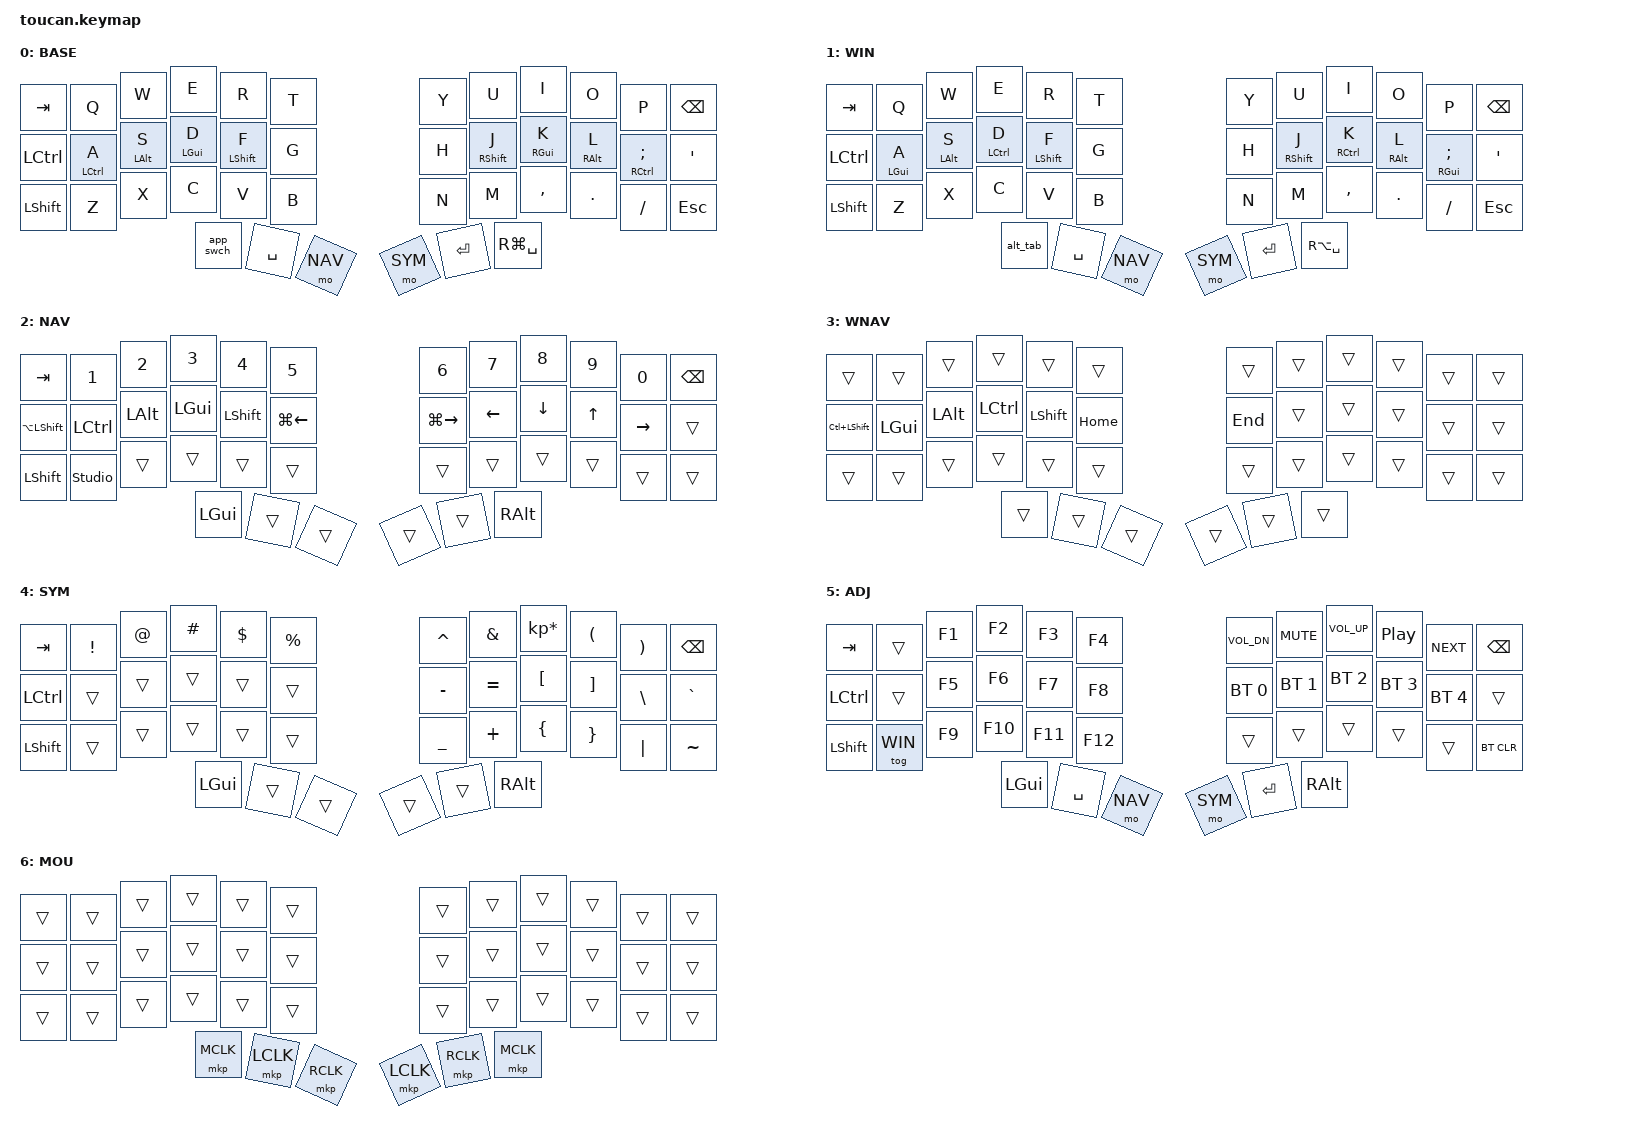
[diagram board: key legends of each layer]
#include <behaviors.dtsi>
#include <dt-bindings/zmk/keys.h>
#include <dt-bindings/zmk/bt.h>
#include <dt-bindings/zmk/outputs.h>
#include <dt-bindings/zmk/pointing.h>

// Layer order matters: higher index wins. WIN/WNAV must sit below NAV/SYM/ADJ.
// MOUSE (6) and NAV/SYM (2/4) indices are also referenced in boards/shields/toucan/toucan.dtsi
#define BASE  0
#define WIN   1
#define NAV   2
#define WNAV  3
#define SYM   4
#define ADJ   5
#define MOUSE 6

// Key positions for chordal hold (see toucan.dtsi)
#define KEYS_L 0 1 2 3 4 5 12 13 14 15 16 17 24 25 26 27 28 29
#define KEYS_R 6 7 8 9 10 11 18 19 20 21 22 23 30 31 32 33 34 35
#define THUMBS 36 37 38 39 40 41

/ {
    conditional_layers {
        compatible = "zmk,conditional-layers";
        tri_layer {
            if-layers = <NAV SYM>;
            then-layer = <ADJ>;
        };
        win_nav {
            if-layers = <WIN NAV>;
            then-layer = <WNAV>;
        };
    };

    behaviors {
        hml: home_row_mod_left {
            compatible = "zmk,behavior-hold-tap";
            #binding-cells = <2>;
            flavor = "balanced";
            tapping-term-ms = <280>;
            quick-tap-ms = <175>;
            require-prior-idle-ms = <150>;
            bindings = <&kp>, <&kp>;
            hold-trigger-key-positions = <KEYS_R THUMBS>;
            hold-trigger-on-release;
        };

        hmr: home_row_mod_right {
            compatible = "zmk,behavior-hold-tap";
            #binding-cells = <2>;
            flavor = "balanced";
            tapping-term-ms = <280>;
            quick-tap-ms = <175>;
            require-prior-idle-ms = <150>;
            bindings = <&kp>, <&kp>;
            hold-trigger-key-positions = <KEYS_L THUMBS>;
            hold-trigger-on-release;
        };
    };

    macros {
        // macOS app switcher: hold Cmd, tap Tab, keep Cmd held until key release
        app_swch: app_switch {
            compatible = "zmk,behavior-macro";
            #binding-cells = <0>;
            wait-ms = <10>;
            tap-ms = <10>;
            bindings
                = <&macro_press &kp LGUI>
                , <&macro_tap &kp TAB>
                , <&macro_pause_for_release>
                , <&macro_release &kp LGUI>
                ;
        };

        // Windows app switcher: hold Alt, tap Tab, keep Alt held until key release
        alt_tab: alt_tab {
            compatible = "zmk,behavior-macro";
            #binding-cells = <0>;
            wait-ms = <10>;
            tap-ms = <10>;
            bindings
                = <&macro_press &kp LALT>
                , <&macro_tap &kp TAB>
                , <&macro_pause_for_release>
                , <&macro_release &kp LALT>
                ;
        };
    };

    keymap {
        compatible = "zmk,keymap";

        base {
            display-name = "BASE";
            bindings = <
                &kp TAB   &kp Q &kp W &kp E &kp R &kp T   &kp Y &kp U  &kp I     &kp O   &kp P    &kp BSPC
                &kp LCTRL &hml LCTRL A &hml LALT S &hml LGUI D &hml LSHFT F &kp G   &kp H &hmr RSHFT J &hmr RGUI K &hmr RALT L &hmr RCTRL SEMI &kp SQT
                &kp LSHFT &kp Z &kp X &kp C &kp V &kp B   &kp N &kp M  &kp COMMA &kp DOT &kp FSLH &kp ESC
                                &app_swch &kp SPACE &mo NAV   &mo SYM &kp RET   &kp RG(SPACE)
            >;
        };

        // Windows base: latched on/off with ADJ + Z position. Home row mods GACS.
        win {
            display-name = "WIN";
            bindings = <
                &kp TAB   &kp Q &kp W &kp E &kp R &kp T   &kp Y &kp U  &kp I     &kp O   &kp P    &kp BSPC
                &kp LCTRL &hml LGUI A &hml LALT S &hml LCTRL D &hml LSHFT F &kp G   &kp H &hmr RSHFT J &hmr RCTRL K &hmr RALT L &hmr RGUI SEMI &kp SQT
                &kp LSHFT &kp Z &kp X &kp C &kp V &kp B   &kp N &kp M  &kp COMMA &kp DOT &kp FSLH &kp ESC
                                &alt_tab &kp SPACE &mo NAV   &mo SYM &kp RET   &kp RA(SPACE)
            >;
        };

        nav {
            display-name = "NAV";
            bindings = <
                &kp TAB     &kp N1          &kp N2       &kp N3       &kp N4       &kp N5         &kp N6   &kp N7   &kp N8 &kp N9    &kp N0 &kp BSPC
                &kp LA(LSHFT)   &kp LCTRL       &kp LALT     &kp LGUI     &kp LSHFT    &kp LG(LEFT)   &kp LG(RIGHT) &kp LEFT &kp DOWN &kp UP &kp RIGHT &trans
                &kp LSHFT   &studio_unlock  &trans       &trans       &trans       &trans         &trans   &trans   &trans &trans    &trans &trans
                                                &kp LGUI     &trans       &trans           &trans     &trans   &kp RALT
            >;
        };

        // Windows nav overrides: active automatically when WIN + NAV (conditional layer). GACS mods.
        wnav {
            display-name = "WNAV";
            bindings = <
                &trans &trans    &trans   &trans    &trans    &trans   &trans &trans &trans &trans &trans &trans
                &kp LC(LSHFT) &kp LGUI  &kp LALT &kp LCTRL &kp LSHFT &kp HOME &kp END &trans &trans &trans &trans &trans
                &trans &trans    &trans   &trans    &trans    &trans   &trans &trans &trans &trans &trans &trans
                                          &trans    &trans    &trans   &trans &trans &trans
            >;
        };

        sym {
            display-name = "SYM";
            bindings = <
                &kp TAB   &kp EXCL &kp AT &kp HASH &kp DLLR &kp PRCNT   &kp CARET &kp AMPS  &kp KP_MULTIPLY &kp LPAR &kp RPAR &kp BSPC
                &kp LCTRL &trans   &trans &trans   &trans   &trans      &kp MINUS &kp EQUAL &kp LBKT        &kp RBKT &kp BSLH &kp GRAVE
                &kp LSHFT &trans   &trans &trans   &trans   &trans      &kp UNDER &kp PLUS  &kp LBRC        &kp RBRC &kp PIPE &kp TILDE
                                          &kp LGUI &trans   &trans      &trans      &trans    &kp RALT
            >;
        };

        adj {
            display-name = "ADJ";
            bindings = <
                &kp TAB   &trans &kp F1 &kp F2 &kp F3 &kp F4    &kp C_VOL_DN &kp C_MUTE  &kp C_VOL_UP &kp C_PP &kp C_NEXT &kp BSPC
                &kp LCTRL &trans &kp F5 &kp F6 &kp F7 &kp F8    &bt BT_SEL 0 &bt BT_SEL 1 &bt BT_SEL 2 &bt BT_SEL 3 &bt BT_SEL 4 &trans
                &kp LSHFT &tog WIN &kp F9 &kp F10 &kp F11 &kp F12  &trans       &trans      &trans       &trans &trans &bt BT_CLR
                                   &kp LGUI &kp SPACE &mo NAV   &mo SYM   &kp RET &kp RALT
            >;
        };

        mouse {
            display-name = "MOU";
            bindings = <
                &trans &trans &trans &trans &trans &trans           &trans &trans &trans &trans &trans &trans
                &trans &trans &trans &trans &trans &trans           &trans &trans &trans &trans &trans &trans
                &trans &trans &trans &trans &trans &trans           &trans &trans &trans &trans &trans &trans
                            &mkp MCLK &mkp LCLK &mkp RCLK           &mkp LCLK &mkp RCLK &mkp MCLK
            >;
        };

        extra_2 {
                status = "reserved";
        };

        extra_3 {
                status = "reserved";
        };
    };
};
